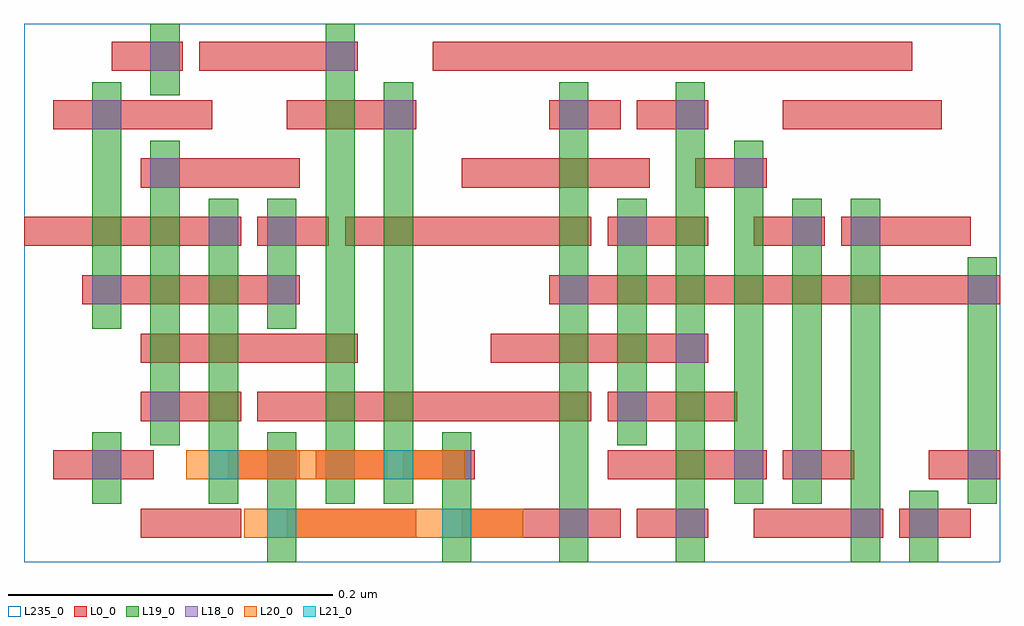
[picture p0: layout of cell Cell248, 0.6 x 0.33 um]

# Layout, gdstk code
import gdstk
lib = gdstk.Library(unit=1e-6, precision=2.5e-10)
def R(c, l, rs):  # rectangles x0, y0, x1, y1
    for r in rs: c.add(gdstk.rectangle(r[:2], r[2:], *l))
def A(c, l, x, y, w, h, nx, ny, dx, dy):  # array of equal rectangles
    R(c, l, [(x+i*dx, y+j*dy, x+i*dx+w, y+j*dy+h) for i in range(nx) for j in range(ny)])
L0_0 = (0, 0)
L18_0 = (18, 0)
L19_0 = (19, 0)
L20_0 = (20, 0)
L21_0 = (21, 0)
L235_0 = (235, 0)

cell248 = lib.new_cell('Cell248')
A(cell248, L0_0, 0.13, 0.035, 0.044, 0.018, 3, 1, 0.054, 0)
R(cell248, L0_0, [(0.076,-0.001,0.138,0.017), (0.166,-0.001,0.246,0.017), (0.274,-0.001,0.372,0.017), (0.382,-0.001,0.426,0.017), (0.454,-0.001,0.534,0.017), (0.544,-0.001,0.588,0.017), (0.022,0.035,0.084,0.053), (0.364,0.035,0.462,0.053), (0.472,0.035,0.516,0.053), (0.562,0.035,0.606,0.053), (0.076,0.071,0.138,0.089), (0.148,0.071,0.354,0.089), (0.364,0.071,0.444,0.089), (0.076,0.107,0.21,0.125), (0.292,0.107,0.426,0.125), (0.04,0.143,0.174,0.161), (0.328,0.143,0.606,0.161), (0.004,0.179,0.138,0.197), (0.148,0.179,0.192,0.197), (0.202,0.179,0.354,0.197), (0.364,0.179,0.426,0.197), (0.454,0.179,0.498,0.197), (0.508,0.179,0.588,0.197), (0.076,0.215,0.174,0.233), (0.274,0.215,0.39,0.233), (0.418,0.215,0.462,0.233), (0.022,0.251,0.12,0.269), (0.166,0.251,0.246,0.269), (0.328,0.251,0.372,0.269), (0.382,0.251,0.426,0.269), (0.472,0.251,0.57,0.269), (0.058,0.287,0.102,0.305), (0.112,0.287,0.21,0.305), (0.256,0.287,0.552,0.305)])
A(cell248, L18_0, 0.046, 0.035, 0.018, 0.018, 1, 3, 0, 0.108)
R(cell248, L18_0, [(0.334,-0.001,0.352,0.017), (0.406,-0.001,0.424,0.017), (0.514,-0.001,0.532,0.017), (0.55,-0.001,0.568,0.017), (0.154,0.035,0.172,0.053), (0.19,0.035,0.208,0.053), (0.262,0.035,0.28,0.053), (0.442,0.035,0.46,0.053), (0.478,0.035,0.496,0.053), (0.586,0.035,0.604,0.053), (0.082,0.071,0.1,0.089), (0.37,0.071,0.388,0.089), (0.406,0.107,0.424,0.125), (0.154,0.143,0.172,0.161), (0.334,0.143,0.352,0.161), (0.586,0.143,0.604,0.161), (0.118,0.179,0.136,0.197), (0.154,0.179,0.172,0.197), (0.37,0.179,0.388,0.197), (0.478,0.179,0.496,0.197), (0.514,0.179,0.532,0.197), (0.082,0.215,0.1,0.233), (0.442,0.215,0.46,0.233), (0.226,0.251,0.244,0.269), (0.334,0.251,0.352,0.269), (0.406,0.251,0.424,0.269), (0.082,0.287,0.1,0.305), (0.19,0.287,0.208,0.305)])
R(cell248, L19_0, [(0.154,-0.016,0.172,0.064), (0.262,-0.016,0.28,0.064), (0.334,-0.016,0.352,0.28), (0.406,-0.016,0.424,0.28), (0.514,-0.016,0.532,0.208), (0.55,-0.016,0.568,0.028), (0.046,0.02,0.064,0.064), (0.118,0.02,0.136,0.208), (0.19,0.02,0.208,0.316), (0.226,0.02,0.244,0.28), (0.442,0.02,0.46,0.244), (0.478,0.02,0.496,0.208), (0.586,0.02,0.604,0.172), (0.082,0.056,0.1,0.244), (0.37,0.056,0.388,0.208), (0.046,0.128,0.064,0.28), (0.154,0.128,0.172,0.208), (0.082,0.272,0.1,0.316)])
R(cell248, L20_0, [(0.14,-0.001,0.312,0.017), (0.104,0.035,0.276,0.053)])
R(cell248, L21_0, [(0.154,-0.001,0.172,0.017), (0.262,-0.001,0.28,0.017), (0.118,0.035,0.136,0.053), (0.226,0.035,0.244,0.053)])
R(cell248, L235_0, [(0.004,-0.016,0.606,0.316)])

lib.write_gds('Cell248.gds')
